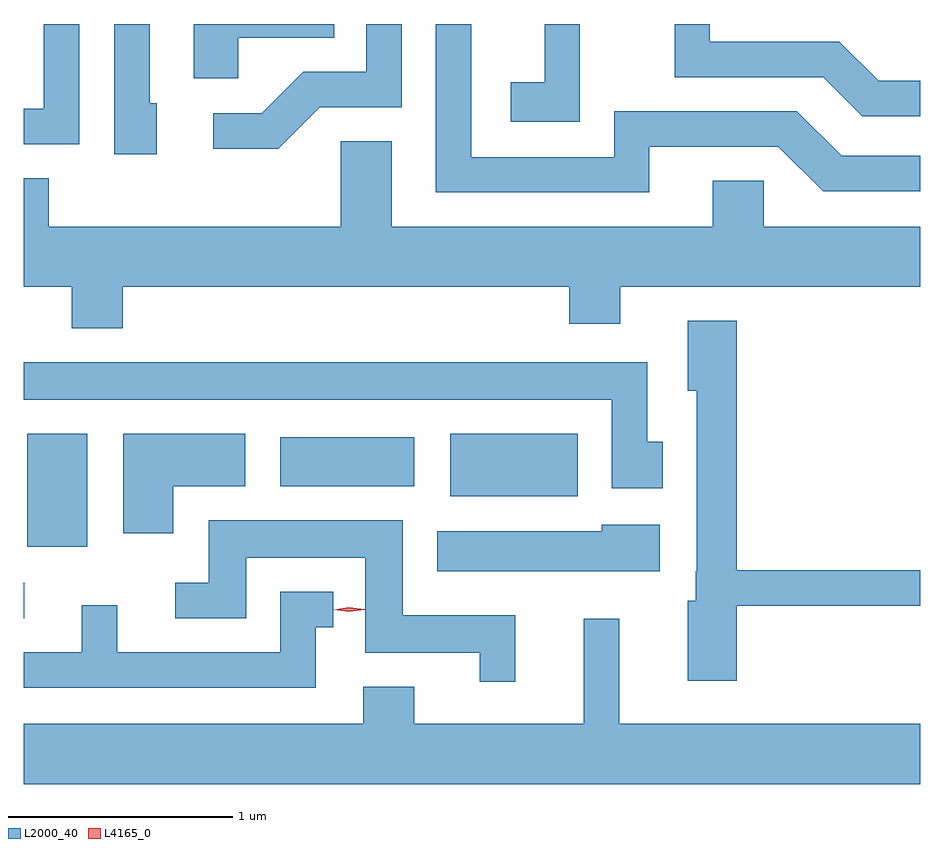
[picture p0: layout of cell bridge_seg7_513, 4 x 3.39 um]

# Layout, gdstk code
import gdstk
lib = gdstk.Library(unit=1e-6, precision=1e-09)
def R(c, l, rs):  # rectangles x0, y0, x1, y1
    for r in rs: c.add(gdstk.rectangle(r[:2], r[2:], *l))
def P(c, l, *ps):  # polygons
    for p in ps: c.add(gdstk.Polygon(p, *l))
L2000_40 = (2000, 40)
L4165_0 = (4165, 0)

bridge_seg7_513 = lib.new_cell('bridge_seg7_513')
R(bridge_seg7_513, L2000_40, [(855.747,1786.096,855.748,1786.254), (855.761,1786.416,856.029,1786.919), (857.651,1786.641,858.219,1786.919), (856.891,1786.686,857.489,1786.904)])
P(bridge_seg7_513, L2000_40, [(856.339,1788.394),(856.309,1788.394),(856.309,1788.748),(856.151,1788.748),(856.151,1788.166),(856.339,1788.166)],
  [(858.539,1788.201),(859.114,1788.201),(859.314,1788.001),(859.747,1788.001),(859.747,1788.159),(859.397,1788.159),(859.197,1788.359),(858.381,1788.359),(858.381,1788.154),(857.744,1788.154),(857.744,1788.748),(857.586,1788.748),(857.586,1787.996),(858.539,1787.996)],
  [(858.229,1788.748),(858.071,1788.748),(858.071,1788.489),(857.921,1788.489),(857.921,1788.311),(858.229,1788.311)],
  [(859.747,1788.494),(859.562,1788.494),(859.387,1788.669),(858.809,1788.669),(858.809,1788.748),(858.651,1788.748),(858.651,1788.511),(859.314,1788.511),(859.489,1788.336),(859.747,1788.336)],
  [(857.067,1788.376),(857.434,1788.376),(857.434,1788.748),(857.276,1788.748),(857.276,1788.534),(856.994,1788.534),(856.809,1788.349),(856.593,1788.349),(856.593,1788.191),(856.882,1788.191)],
  [(855.994,1788.748),(855.836,1788.748),(855.836,1788.369),(855.747,1788.369),(855.747,1788.211),(855.994,1788.211)],
  [(856.704,1788.686),(857.133,1788.686),(857.133,1788.748),(856.506,1788.748),(856.506,1788.506),(856.704,1788.506)],
  [(856.189,1787.576),(858.181,1787.576),(858.181,1787.411),(858.409,1787.411),(858.409,1787.576),(859.747,1787.576),(859.747,1787.844),(859.049,1787.844),(859.049,1788.049),(858.821,1788.049),(858.821,1787.844),(857.389,1787.844),(857.389,1788.224),(857.161,1788.224),(857.161,1787.844),(855.859,1787.844),(855.859,1788.059),(855.747,1788.059),(855.747,1787.576),(855.961,1787.576),(855.961,1787.391),(856.189,1787.391)],
  [(858.929,1786.151),(859.747,1786.151),(859.747,1786.309),(858.929,1786.309),(858.929,1787.424),(858.711,1787.424),(858.711,1787.111),(858.751,1787.111),(858.751,1786.305),(858.746,1786.305),(858.746,1786.174),(858.711,1786.174),(858.711,1785.816),(858.929,1785.816)],
  [(858.599,1786.884),(858.529,1786.884),(858.529,1787.239),(855.747,1787.239),(855.747,1787.071),(858.371,1787.071),(858.371,1786.676),(858.599,1786.676)],
  [(856.414,1786.686),(856.734,1786.686),(856.734,1786.919),(856.191,1786.919),(856.191,1786.476),(856.414,1786.476)],
  [(857.939,1786.109),(857.439,1786.109),(857.439,1786.534),(856.571,1786.534),(856.571,1786.254),(856.423,1786.254),(856.423,1786.096),(856.739,1786.096),(856.739,1786.366),(857.271,1786.366),(857.271,1785.941),(857.781,1785.941),(857.781,1785.813),(857.939,1785.813)],
  [(858.584,1786.514),(858.326,1786.514),(858.326,1786.484),(857.591,1786.484),(857.591,1786.306),(858.584,1786.306)],
  [(857.049,1786.056),(857.128,1786.056),(857.128,1786.214),(856.891,1786.214),(856.891,1785.944),(856.164,1785.944),(856.164,1786.153),(856.006,1786.153),(856.006,1785.944),(855.747,1785.944),(855.747,1785.786),(857.049,1785.786)],
  [(859.747,1785.624),(858.404,1785.624),(858.404,1786.093),(858.246,1786.093),(858.246,1785.624),(857.489,1785.624),(857.489,1785.789),(857.261,1785.789),(857.261,1785.624),(855.747,1785.624),(855.747,1785.356),(859.747,1785.356)])
P(bridge_seg7_513, L4165_0, [(857.198,1786.124),(857.129,1786.133),(857.129,1786.134),(857.129,1786.134),(857.198,1786.144),(857.268,1786.135),(857.268,1786.134),(857.268,1786.134)])

lib.write_gds('bridge_seg7_513.gds')
